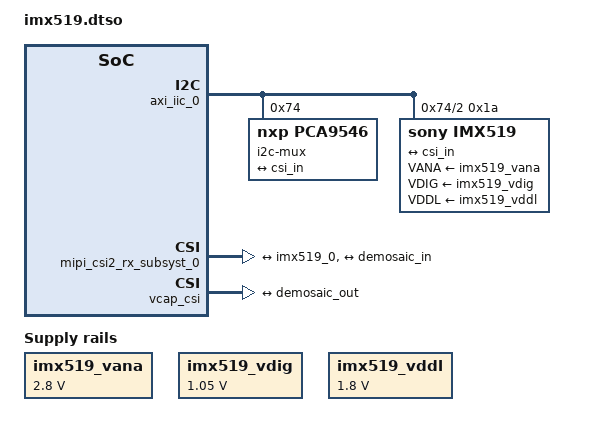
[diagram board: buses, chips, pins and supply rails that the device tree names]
/dts-v1/;
/plugin/;

&fpga_full {
    firmware-name = "kv260-cam.bit.bin";
    resets = <&zynqmp_reset 0x74>;
};

&amba {
    #address-cells = <2>;
    #size-cells = <2>;

    clocking0: clocking0 {
        #clock-cells = <0>;
        compatible = "xlnx,fclk";
        clocks = <&zynqmp_clk 71>;
        assigned-clocks = <&zynqmp_clk 71>;
        assigned-clock-rates = <142857142>;
        clock-output-names = "fabric_clk";
    };

    clocking1: clocking1 {
        #clock-cells = <0>;
        compatible = "xlnx,fclk";
        clocks = <&zynqmp_clk 72>;
        assigned-clocks = <&zynqmp_clk 72>;
        assigned-clock-rates = <199999998>;
        clock-output-names = "fabric_clk";
    };

    imx519_clk: imx519_clk {
        #clock-cells = <0>;
        compatible = "fixed-clock";
        clock-frequency = <24000000>;
    };

    imx519_vana: imx519_vana {
        compatible = "regulator-fixed";
        regulator-name = "imx519_vana";
        regulator-min-microvolt = <2800000>;
        regulator-max-microvolt = <2800000>;
    };

    imx519_vdig: imx519_vdig {
        compatible = "regulator-fixed";
        regulator-name = "imx519_vdig";
        regulator-min-microvolt = <1050000>;
        regulator-max-microvolt = <1050000>;
    };

    imx519_vddl: imx519_vddl {
        compatible = "regulator-fixed";
        regulator-name = "imx519_vddl";
        regulator-min-microvolt = <1800000>;
        regulator-max-microvolt = <1800000>;
    };

    axi_iic_0: i2c@a0010000 {
        compatible = "xlnx,axi-iic-2.1", "xlnx,xps-iic-2.00.a";
        reg = <0x0 0xa0010000 0x0 0x10000>;
        clocks = <&zynqmp_clk 71>;
        clock-names = "s_axi_aclk";
        interrupt-parent = <&gic>;
        interrupts = <0 89 4>;
        #address-cells = <1>;
        #size-cells = <0>;

        i2c-mux@74 {
            compatible = "nxp,pca9546";
            reg = <0x74>;
            #address-cells = <1>;
            #size-cells = <0>;

            i2c@0 { reg = <0>; #address-cells = <1>; #size-cells = <0>; };
            i2c@1 { reg = <1>; #address-cells = <1>; #size-cells = <0>; };

            i2c@2 {
                reg = <2>;
                #address-cells = <1>;
                #size-cells = <0>;

                imx519: sensor@1a {
                    compatible = "sony,imx519";
                    reg = <0x1a>;
                    clocks = <&imx519_clk>;
                    clock-names = "xclk";
                    VANA-supply = <&imx519_vana>;
                    VDIG-supply = <&imx519_vdig>;
                    VDDL-supply = <&imx519_vddl>;
                    rotation = <0>;
                    orientation = <2>;

                    port {
                        imx519_0: endpoint {
                            remote-endpoint = <&csi_in>;
                            data-lanes = <1 2>;
                            clock-noncontinuous;
                            link-frequencies = /bits/ 64 <493500000>;
                        };
                    };
                };

                imx519_vcm: ak7375@c {
                    compatible = "asahi-kasei,ak7375";
                    reg = <0x0c>;
                    status = "disabled";
                };
            };

            i2c@3 { reg = <3>; #address-cells = <1>; #size-cells = <0>; };
        };
    };

    mipi_csi2_rx_subsyst_0: mipi_csi2_rx_subsystem@a0020000 {
        compatible = "xlnx,mipi-csi2-rx-subsystem-5.0";
        reg = <0x0 0xa0020000 0x0 0x2000>;

        interrupt-parent = <&gic>;
        interrupts = <0 90 4>;

        xlnx,csi-pxl-format = <0x2b>;   /* RAW10 -- IMX519 is RAW10 in all modes */
        xlnx,vfb;

        clock-names = "lite_aclk", "video_aclk";
        clocks = <&zynqmp_clk 71>, <&zynqmp_clk 71>;

        ports {
            #address-cells = <1>;
            #size-cells = <0>;

            port@0 {
                reg = <0>;
                csi_in: endpoint {
                    remote-endpoint = <&imx519_0>;
                    data-lanes = <1 2>;
                };
            };

            port@1 {
                reg = <1>;
                csi_out: endpoint {
                    remote-endpoint = <&demosaic_in>;
                };
            };
        };
    };

    v_demosaic_0: v_demosaic@a0030000 {
        compatible = "xlnx,v-demosaic";
        reg = <0x0 0xa0030000 0x0 0x10000>;
        reset-gpios = <&gpio 80 1>;

        clocks = <&zynqmp_clk 71>;
        clock-names = "ap_clk";

        xlnx,max-width = <1920>;
        xlnx,max-height = <1080>;

        ports {
            #address-cells = <1>;
            #size-cells = <0>;

            port@0 {
                reg = <0>;
                xlnx,video-width = <10>;
                demosaic_in: endpoint {
                    remote-endpoint = <&csi_out>;
                };
            };

            port@1 {
                reg = <1>;
                xlnx,video-width = <10>;
                demosaic_out: endpoint {
                    remote-endpoint = <&vcap_csi_in>;
                };
            };
        };
    };

    v_frmbuf_wr_0: v_frmbuf_wr@a0000000 {
        compatible = "xlnx,v-frmbuf-wr-3.1", "xlnx,v-frmbuf-wr-v3.0", "xlnx,axi-frmbuf-wr-v2.2";
        reg = <0x0 0xa0000000 0x0 0x10000>;
        #dma-cells = <1>;
        interrupt-parent = <&gic>;
        interrupt-names = "interrupt";
        interrupts = <0 104 4>;
        clocks = <&zynqmp_clk 71>;
        clock-names = "ap_clk";
        reset-gpios = <&gpio 79 1>;
        xlnx,dma-addr-width = <32>;
        xlnx,dma-align = <8>;
        xlnx,pixels-per-clock = <1>;
        xlnx,vid-formats = "rgb888";

        xlnx,max-width = <1920>;
        xlnx,max-height = <1080>;
        xlnx,max-nr-planes = <1>;
    };

    vcap_csi: vcap_csi {
        compatible = "xlnx,video";
        dmas = <&v_frmbuf_wr_0 0>;
        dma-names = "port0";

        ports {
            #address-cells = <1>;
            #size-cells = <0>;

            port@0 {
                reg = <0>;
                direction = "input";
                vcap_csi_in: endpoint {
                    remote-endpoint = <&demosaic_out>;
                };
            };
        };
    };
};
